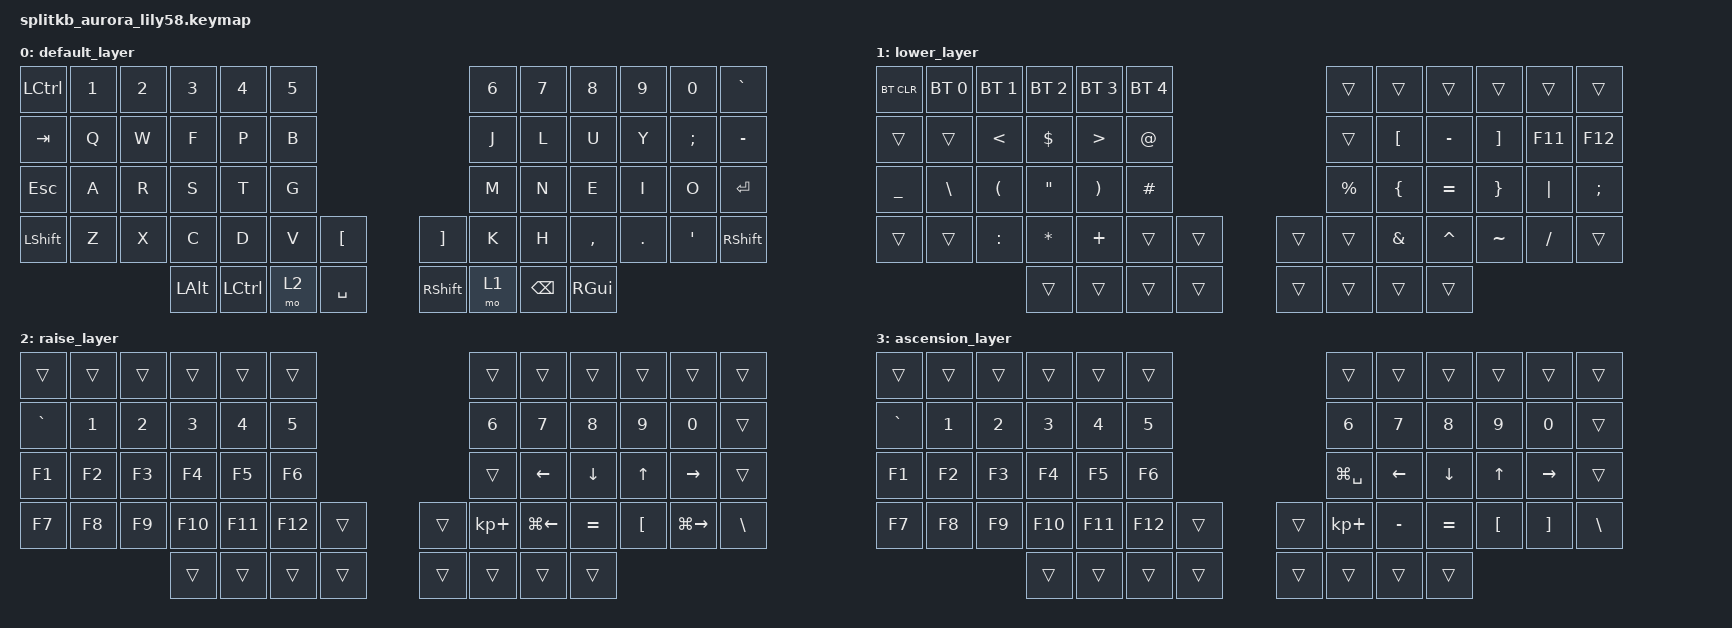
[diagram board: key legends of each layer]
/*
 * Copyright (c) 2022 The ZMK Contributors
 *
 * SPDX-License-Identifier: MIT
 */

#include <behaviors.dtsi>
#include <dt-bindings/zmk/bt.h>
#include <dt-bindings/zmk/keys.h>

#define DEFAULT 0
#define LOWER 1
#define RAISE 2
#define ASCEND 3
#define HYP LS(LC(LA(LGUI)))

#define HYPER(key) LS(LC(LA(LG(key))))

/ {
    conditional_layers {
        compatible = "zmk,conditional-layers";

        tri_layer {
            if-layers = <LOWER RAISE>;
            then-layer = <ASCEND>;
        };
    };

    keymap {
        compatible = "zmk,keymap";

        default_layer {
            // ------------------------------------------------------------------------------------------------------------
            // |  ESC  |  1  |  2  |  3   |  4   |  5   |                   |  6   |  7    |  8    |  9   |   0   |   `   |
            // |  TAB  |  Q  |  W  |  E   |  R   |  T   |                   |  Y   |  U    |  I    |  O   |   P   |   -   |
            // |  CTRL |  A  |  S  |  D   |  F   |  G   |                   |  H   |  J    |  K    |  L   |   ;   |   '   |
            // | SHIFT |  Z  |  X  |  C   |  V   |  B   |   "["  |  |  "]"  |  N   |  M    |  ,    |  .   |   /   | SHIFT |
            //                     | ALT  | GUI  | LOWER|  SPACE |  | ENTER | RAISE| BSPC  | GUI   |

            bindings = <
&kp LCTRL  &kp N1  &kp N2    &kp N3            &kp N4  &kp N5                              &kp N6    &kp N7  &kp NUMBER_8   &kp N9            &kp N0  &kp GRAVE
  &kp TAB   &kp Q   &kp W     &kp F             &kp P   &kp B                               &kp J     &kp L         &kp U    &kp Y          &kp SEMI  &kp MINUS
  &kp ESC   &kp A   &kp R     &kp S             &kp T   &kp G                               &kp M     &kp N         &kp E    &kp I             &kp O  &kp ENTER
&kp LSHFT   &kp Z   &kp X     &kp C             &kp D   &kp V   &kp LBKT         &kp RBKT   &kp K     &kp H     &kp COMMA  &kp DOT  &kp SINGLE_QUOTE  &kp RSHFT
                           &kp LALT  &kp LEFT_CONTROL   &mo 2  &kp SPACE  &kp RIGHT_SHIFT   &mo 1  &kp BSPC      &kp RGUI
            >;
        };

        lower_layer {
            // ------------------------------------------------------------------------------------------------------------
            // | BTCLR | BT1 | BT2 |  BT3 |  BT4 |  BT5 |                   |      |       |       |      |       |       |
            // |       |     |  <  |  $   |   >  |      |                   |      |  [    |  -    |  ]   |       |       |
            // |   _   |  \  |  (  |  "   |   )  |  #   |                   |  %   |  {    |  =    |  }   |   |   |   ;   |
            // |       |     |  :  |  *   |   +  |      |        |  |       |      |  &    |  ^    |  ~   |       |       |
            //                     |      |      |      |        |  |       |      |       |       |

            bindings = <
    &bt BT_CLR   &bt BT_SEL 0          &bt BT_SEL 1       &bt BT_SEL 2           &bt BT_SEL 3  &bt BT_SEL 4                       &trans            &trans     &trans             &trans     &trans         &trans
        &trans         &trans         &kp LESS_THAN         &kp DOLLAR       &kp GREATER_THAN        &kp AT                       &trans  &kp LEFT_BRACKET  &kp MINUS  &kp RIGHT_BRACKET    &kp F11        &kp F12
&kp UNDERSCORE  &kp BACKSLASH  &kp LEFT_PARENTHESIS  &kp DOUBLE_QUOTES  &kp RIGHT_PARENTHESIS      &kp HASH                  &kp PERCENT    &kp LEFT_BRACE  &kp EQUAL    &kp RIGHT_BRACE   &kp PIPE  &kp SEMICOLON
        &trans         &trans             &kp COLON       &kp ASTERISK               &kp PLUS        &trans  &trans  &trans       &trans     &kp AMPERSAND  &kp CARET          &kp TILDE  &kp SLASH         &trans
                                                                &trans                 &trans        &trans  &trans  &trans       &trans            &trans     &trans
            >;
        };

        raise_layer {
            // ------------------------------------------------------------------------------------------------------------
            // |       |     |     |      |      |      |                   |      |       |       |      |       |       |
            // |   `   |  1  |  2  |  3   |  4   |  5   |                   |  6   |   7   |   8   |  9   |   0   |       |
            // |   F1  |  F2 |  F3 |  F4  |  F5  |  F6  |                   |      |   <-  |   v   |  ^   |  ->   |       |
            // |   F7  |  F8 |  F9 |  F10 |  F11 |  F12 |        |  |       |  +   |   -   |   =   |  [   |   ]   |   \   |
            //                     |      |      |      |        |  |       |      |       |       |

            bindings = <
   &trans  &trans  &trans   &trans   &trans   &trans                       &trans        &trans     &trans    &trans         &trans    &trans
&kp GRAVE  &kp N1  &kp N2   &kp N3   &kp N4   &kp N5                       &kp N6        &kp N7     &kp N8    &kp N9         &kp N0    &trans
   &kp F1  &kp F2  &kp F3   &kp F4   &kp F5   &kp F6                       &trans      &kp LEFT   &kp DOWN    &kp UP      &kp RIGHT    &trans
   &kp F7  &kp F8  &kp F9  &kp F10  &kp F11  &kp F12  &trans  &trans  &kp KP_PLUS  &kp LG(LEFT)  &kp EQUAL  &kp LBKT  &kp LG(RIGHT)  &kp BSLH
                            &trans   &trans   &trans  &trans  &trans       &trans        &trans     &trans
            >;
        };

        ascension_layer {
            // ------------------------------------------------------------------------------------------------------------
            // |       |     |     |      |      |      |                   |      |       |       |      |       |       |
            // |   `   |  1  |  2  |  3   |  4   |  5   |                   |  6   |   7   |   8   |  9   |   0   |       |
            // |   F1  |  F2 |  F3 |  F4  |  F5  |  F6  |                   |      |   <-  |   v   |  ^   |  ->   |       |
            // |   F7  |  F8 |  F9 |  F10 |  F11 |  F12 |        |  |       |  +   |   -   |   =   |  [   |   ]   |   \   |
            //                     |      |      |      |        |  |       |      |       |       |

            bindings = <
   &trans  &trans  &trans   &trans   &trans   &trans                         &trans     &trans     &trans    &trans     &trans    &trans
&kp GRAVE  &kp N1  &kp N2   &kp N3   &kp N4   &kp N5                         &kp N6     &kp N7     &kp N8    &kp N9     &kp N0    &trans
   &kp F1  &kp F2  &kp F3   &kp F4   &kp F5   &kp F6                  &kp LG(SPACE)   &kp LEFT   &kp DOWN    &kp UP  &kp RIGHT    &trans
   &kp F7  &kp F8  &kp F9  &kp F10  &kp F11  &kp F12  &trans  &trans    &kp KP_PLUS  &kp MINUS  &kp EQUAL  &kp LBKT   &kp RBKT  &kp BSLH
                            &trans   &trans   &trans  &trans  &trans         &trans     &trans     &trans
            >;
        };
    };
};
